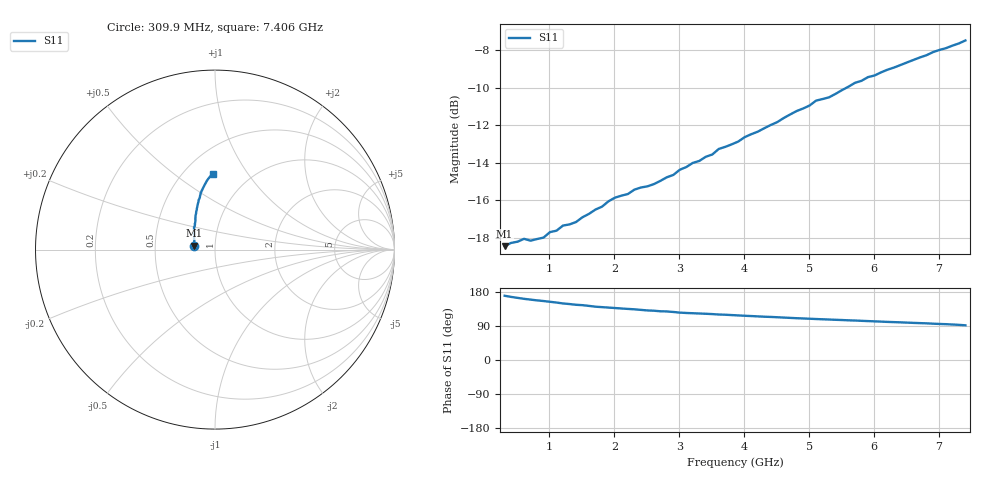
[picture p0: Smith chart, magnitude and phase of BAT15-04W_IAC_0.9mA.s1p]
! Infineon Technologies  Discrete & RF Semiconductors
! BAT15-04W-E6327
! IAC = 0.9 mA
! One-Port S-Parameters
# Hz  S  MA  R  50
!f  S11
!Hz  Mag  Ang
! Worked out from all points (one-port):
!   72 points, 309.9 MHz to 7.406 GHz, reference 50 ohm
!   lowest |S11| = -18.4 dB at 309.9 MHz (marker M1), VSWR 1.27, Z = 39.4 + j1.74 ohm
!   |S11| at or under -10 dB: start of sweep to 5.578 GHz
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3.0985e8  0.1196 169.5
6.097e8  0.1252 161.4
7.0965e8  0.1237 159.4
9.0955e8  0.1261 155.6
1.0095e9  0.1304 153.6
1.10945e9  0.1316 151.6
1.2094e9  0.1358 149.2
1.4093e9  0.1387 145.7
1.8091e9  0.1524 139.5
1.90905e9  0.1575 138.3
2.10895e9  0.1631 135.9
2.2089e9  0.1647 134.8
2.30885e9  0.1692 133.7
2.6087e9  0.175 130.1
2.90855e9  0.1852 126.7
3.0085e9  0.1912 125.0
3.50825e9  0.2099 121.1
3.6082e9  0.2172 120.0
3.90805e9  0.2272 117.6
4.008e9  0.2335 116.7
4.8076e9  0.274 110.3
5.0075e9  0.2834 108.9
5.10745e9  0.2921 108.1
5.30735e9  0.298 106.8
5.70715e9  0.3258 104.2
6.6067e9  0.3748 98.0
7.10645e9  0.4027 94.5
7.4063e9  0.4223 91.6
